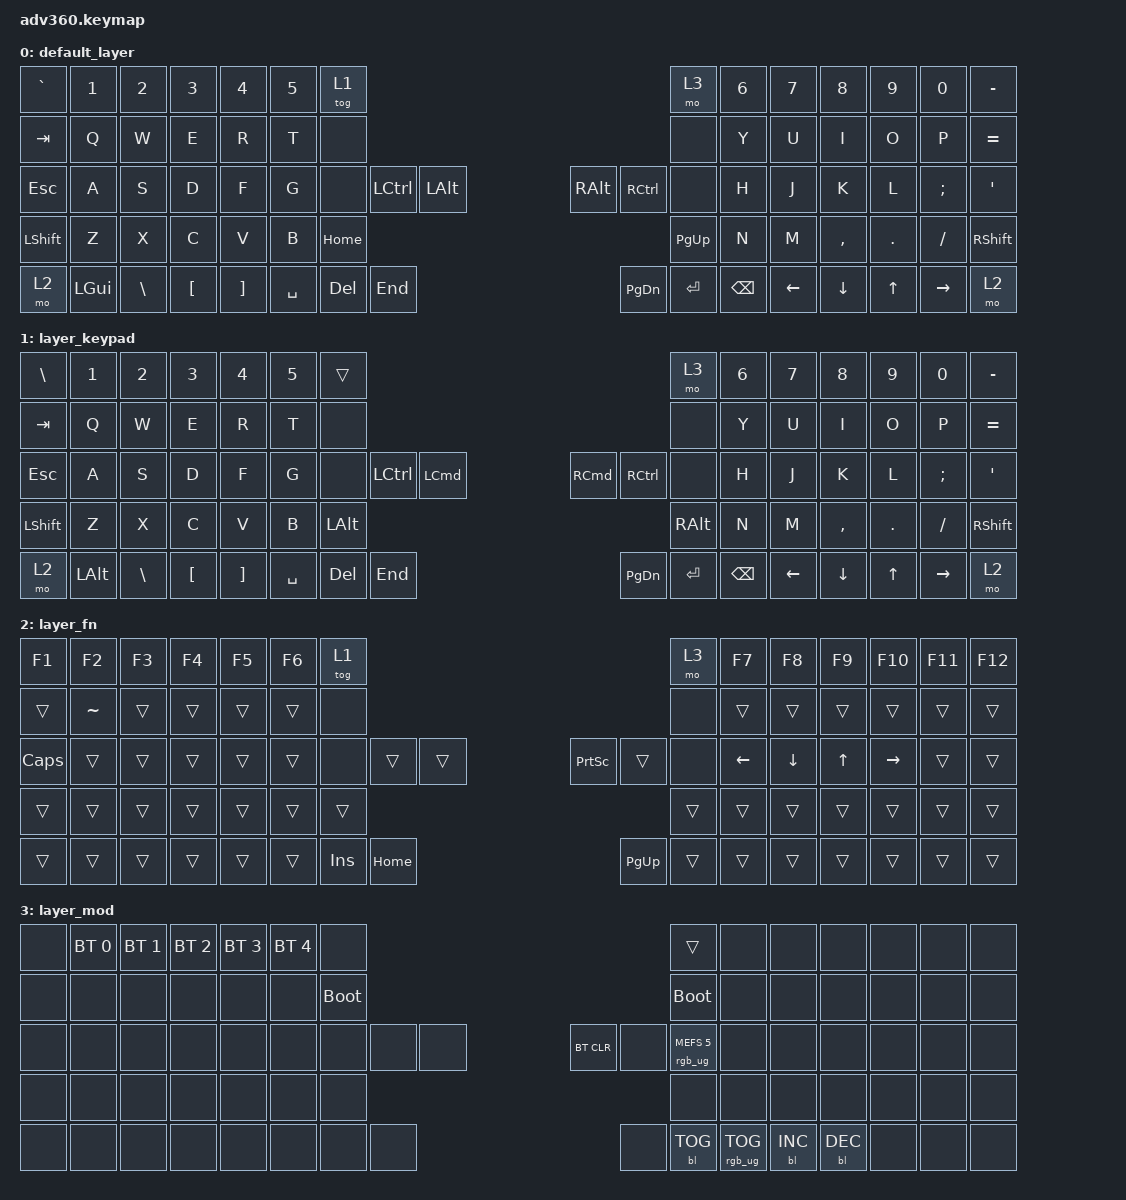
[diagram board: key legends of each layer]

/*
 * Copyright (c) 2020 The ZMK Contributors
 *
 * SPDX-License-Identifier: MIT
 */


/* THIS FILE WAS GENERATED!
 *
 * This file was generated automatically. You may or may not want to
 * edit it directly.
 */

#include <behaviors.dtsi>
#include <dt-bindings/zmk/keys.h>
#include <dt-bindings/zmk/bt.h>
#include <dt-bindings/zmk/rgb.h>
#include <dt-bindings/zmk/backlight.h>

/ {
  behaviors {
    #include "macros.dtsi"
    #include "version.dtsi"

    hm: homerow_mods {
        compatible = "zmk,behavior-hold-tap";
        label = "HOMEROW_MODS";
        #binding-cells = <2>;
        tapping-term-ms = <200>;
        quick_tap_ms = <175>;
        flavor = "tap-preferred";
        bindings = <&kp>, <&kp>;
    };
  };

    keymap {
        compatible = "zmk,keymap";


        default_layer {
            bindings = <
 &kp GRAVE    &kp N1    &kp N2    &kp N3    &kp N4  &kp N5               &tog 1                                                                &mo 3  &kp N6    &kp N7     &kp N8   &kp N9     &kp N0   &kp MINUS
   &kp TAB     &kp Q     &kp W     &kp E     &kp R   &kp T                &none                                                                &none   &kp Y     &kp U      &kp I    &kp O      &kp P   &kp EQUAL
   &kp ESC     &kp A     &kp S     &kp D     &kp F   &kp G                &none  &kp LCTRL  &kp LALT                   &kp RALT  &kp RCTRL     &none   &kp H     &kp J      &kp K    &kp L   &kp SEMI     &kp SQT
 &kp LSHFT     &kp Z     &kp X     &kp C     &kp V   &kp B                                  &kp HOME                  &kp PG_UP                        &kp N     &kp M  &kp COMMA  &kp DOT   &kp FSLH  &kp RSHIFT
     &mo 2  &kp LGUI  &kp BSLH  &kp LBKT  &kp RBKT                    &kp SPACE    &kp DEL   &kp END                  &kp PG_DN  &kp ENTER  &kp BSPC          &kp LEFT   &kp DOWN   &kp UP  &kp RIGHT       &mo 2
            >;
        };

        layer_keypad {
            bindings = <
  &kp BSLH    &kp N1    &kp N2    &kp N3    &kp N4  &kp N5               &trans                                                                                &mo 3  &kp N6    &kp N7     &kp N8   &kp N9     &kp N0  &kp MINUS
   &kp TAB     &kp Q     &kp W     &kp E     &kp R   &kp T                &none                                                                                &none   &kp Y     &kp U      &kp I    &kp O      &kp P  &kp EQUAL
   &kp ESC     &kp A     &kp S     &kp D     &kp F   &kp G                &none  &kp LCTRL  &kp LEFT_COMMAND                  &kp RIGHT_COMMAND  &kp RCTRL     &none   &kp H     &kp J      &kp K    &kp L   &kp SEMI    &kp SQT
 &kp LSHFT     &kp Z     &kp X     &kp C     &kp V   &kp B                                          &kp LALT                           &kp RALT                        &kp N     &kp M  &kp COMMA  &kp DOT   &kp FSLH  &kp RSHFT
     &mo 2  &kp LALT  &kp BSLH  &kp LBKT  &kp RBKT                    &kp SPACE    &kp DEL           &kp END                          &kp PG_DN  &kp ENTER  &kp BSPC          &kp LEFT   &kp DOWN   &kp UP  &kp RIGHT      &mo 2
            >;
        };

        layer_fn {
            bindings = <
   &kp F1     &kp F2  &kp F3  &kp F4  &kp F5  &kp F6            &tog 1                                                         &mo 3    &kp F7    &kp F8  &kp F9    &kp F10  &kp F11  &kp F12
   &trans  &kp TILDE  &trans  &trans  &trans  &trans             &none                                                         &none    &trans    &trans  &trans     &trans   &trans   &trans
 &kp CAPS     &trans  &trans  &trans  &trans  &trans             &none   &trans    &trans                  &kp PSCRN  &trans   &none  &kp LEFT  &kp DOWN  &kp UP  &kp RIGHT   &trans   &trans
   &trans     &trans  &trans  &trans  &trans  &trans                               &trans                     &trans                    &trans    &trans  &trans     &trans   &trans   &trans
   &trans     &trans  &trans  &trans  &trans                    &trans  &kp INS  &kp HOME                  &kp PG_UP  &trans  &trans              &trans  &trans     &trans   &trans   &trans
            >;
        };

        layer_mod {
            bindings = <
  &none  &bt BT_SEL 0  &bt BT_SEL 1  &bt BT_SEL 2  &bt BT_SEL 3  &bt BT_SEL 4                  &none                                                                          &trans   &none       &none       &none   &none   &none   &none
  &none         &none         &none         &none         &none         &none            &bootloader                                                                     &bootloader   &none       &none       &none   &none   &none   &none
  &none         &none         &none         &none         &none         &none                  &none   &none   &none                  &bt BT_CLR       &none  &rgb_ug RGB_MEFS_CMD 5   &none       &none       &none   &none   &none   &none
  &none         &none         &none         &none         &none         &none                                  &none                       &none                                       &none       &none       &none   &none   &none   &none
  &none         &none         &none         &none         &none                                &none   &none   &none                       &none  &bl BL_TOG         &rgb_ug RGB_TOG          &bl BL_INC  &bl BL_DEC   &none   &none   &none
            >;
        };

    };
};
